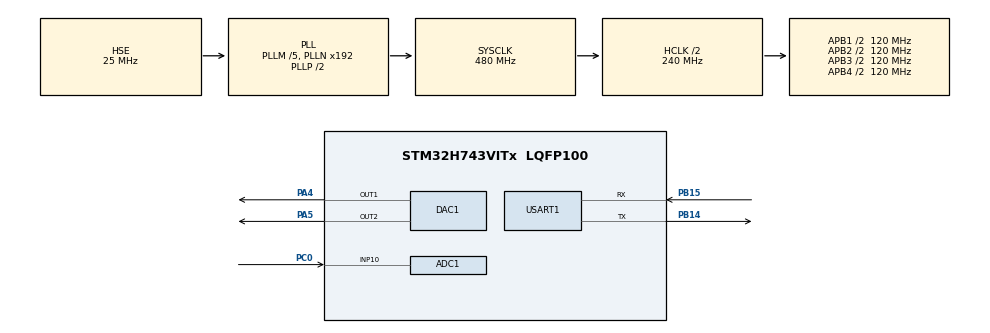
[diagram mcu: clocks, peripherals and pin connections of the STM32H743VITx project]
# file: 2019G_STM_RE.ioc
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ADC1.Channel-0\#ChannelRegularConversion=ADC_CHANNEL_10
ADC1.ConversionDataManagement=ADC_CONVERSIONDATA_DMA_CIRCULAR
ADC1.ExternalTrigConv=ADC_EXTERNALTRIG_T6_TRGO
ADC1.NbrOfConversionFlag=1
ADC1.OffsetNumber-0\#ChannelRegularConversion=ADC_OFFSET_NONE
ADC1.OffsetSignedSaturation-0\#ChannelRegularConversion=DISABLE
ADC1.Rank-0\#ChannelRegularConversion=1
ADC1.SamplingTime-0\#ChannelRegularConversion=ADC_SAMPLETIME_1CYCLE_5
ADC1.master=1
CORTEX_M7.CPU_DCache=Enabled
CORTEX_M7.default_mode_Activation=0
DAC1.DAC1_OutputBuffer-DAC_OUT1=DAC_OUTPUTBUFFER_DISABLE
DAC1.DAC2_OutputBuffer-DAC_OUT2=DAC_OUTPUTBUFFER_DISABLE
DAC1.DAC_Channel-DAC_OUT1=DAC_CHANNEL_1
DAC1.DAC_Channel-DAC_OUT2=DAC_CHANNEL_2
DAC1.DAC_Trigger-DAC_OUT1=DAC_TRIGGER_T5_TRGO
DAC1.DAC_Trigger-DAC_OUT2=DAC_TRIGGER_T4_TRGO
Dma.ADC1.0.Direction=DMA_PERIPH_TO_MEMORY
Dma.ADC1.0.EventEnable=DISABLE
Dma.ADC1.0.FIFOMode=DMA_FIFOMODE_DISABLE
Dma.ADC1.0.Instance=DMA1_Stream0
Dma.ADC1.0.MemDataAlignment=DMA_MDATAALIGN_HALFWORD
Dma.ADC1.0.MemInc=DMA_MINC_ENABLE
Dma.ADC1.0.Mode=DMA_NORMAL
Dma.ADC1.0.PeriphDataAlignment=DMA_PDATAALIGN_HALFWORD
Dma.ADC1.0.PeriphInc=DMA_PINC_DISABLE
Dma.ADC1.0.Polarity=HAL_DMAMUX_REQ_GEN_RISING
Dma.ADC1.0.Priority=DMA_PRIORITY_LOW
Dma.ADC1.0.RequestNumber=1
Dma.ADC1.0.SignalID=NONE
Dma.ADC1.0.SyncEnable=DISABLE
Dma.ADC1.0.SyncPolarity=HAL_DMAMUX_SYNC_NO_EVENT
Dma.ADC1.0.SyncRequestNumber=1
Dma.ADC1.0.SyncSignalID=NONE
Dma.DAC1_CH1.1.Direction=DMA_MEMORY_TO_PERIPH
Dma.DAC1_CH1.1.EventEnable=DISABLE
Dma.DAC1_CH1.1.FIFOMode=DMA_FIFOMODE_DISABLE
Dma.DAC1_CH1.1.Instance=DMA1_Stream1
Dma.DAC1_CH1.1.MemDataAlignment=DMA_MDATAALIGN_HALFWORD
Dma.DAC1_CH1.1.MemInc=DMA_MINC_ENABLE
Dma.DAC1_CH1.1.Mode=DMA_CIRCULAR
Dma.DAC1_CH1.1.PeriphDataAlignment=DMA_PDATAALIGN_HALFWORD
Dma.DAC1_CH1.1.PeriphInc=DMA_PINC_DISABLE
Dma.DAC1_CH1.1.Polarity=HAL_DMAMUX_REQ_GEN_RISING
Dma.DAC1_CH1.1.Priority=DMA_PRIORITY_LOW
Dma.DAC1_CH1.1.RequestNumber=1
Dma.DAC1_CH1.1.SignalID=NONE
Dma.DAC1_CH1.1.SyncEnable=DISABLE
Dma.DAC1_CH1.1.SyncPolarity=HAL_DMAMUX_SYNC_NO_EVENT
Dma.DAC1_CH1.1.SyncRequestNumber=1
Dma.DAC1_CH1.1.SyncSignalID=NONE
Dma.DAC1_CH2.2.Direction=DMA_MEMORY_TO_PERIPH
Dma.DAC1_CH2.2.EventEnable=DISABLE
Dma.DAC1_CH2.2.FIFOMode=DMA_FIFOMODE_DISABLE
Dma.DAC1_CH2.2.Instance=DMA1_Stream2
Dma.DAC1_CH2.2.MemDataAlignment=DMA_MDATAALIGN_HALFWORD
Dma.DAC1_CH2.2.MemInc=DMA_MINC_ENABLE
Dma.DAC1_CH2.2.Mode=DMA_CIRCULAR
Dma.DAC1_CH2.2.PeriphDataAlignment=DMA_PDATAALIGN_HALFWORD
Dma.DAC1_CH2.2.PeriphInc=DMA_PINC_DISABLE
Dma.DAC1_CH2.2.Polarity=HAL_DMAMUX_REQ_GEN_RISING
Dma.DAC1_CH2.2.Priority=DMA_PRIORITY_LOW
Dma.DAC1_CH2.2.RequestNumber=1
Dma.DAC1_CH2.2.SignalID=NONE
Dma.DAC1_CH2.2.SyncEnable=DISABLE
Dma.DAC1_CH2.2.SyncPolarity=HAL_DMAMUX_SYNC_NO_EVENT
Dma.DAC1_CH2.2.SyncRequestNumber=1
Dma.DAC1_CH2.2.SyncSignalID=NONE
Dma.Request0=ADC1
Dma.Request1=DAC1_CH1
Dma.Request2=DAC1_CH2
Mcu.Family=STM32H7
Mcu.Name=STM32H743VITx
Mcu.Package=LQFP100
NVIC.DMA1_Stream0_IRQn=true\:0\:0\:false\:false\:true\:false\:true\:true
NVIC.DMA1_Stream1_IRQn=true\:0\:0\:false\:false\:true\:false\:true\:true
NVIC.DMA1_Stream2_IRQn=true\:0\:0\:false\:false\:true\:false\:true\:true
NVIC.PriorityGroup=NVIC_PRIORITYGROUP_4
PA13\ (JTMS/SWDIO).Mode=Serial_Wire
PA13\ (JTMS/SWDIO).Signal=DEBUG_JTMS-SWDIO
PA14\ (JTCK/SWCLK).Mode=Serial_Wire
PA14\ (JTCK/SWCLK).Signal=DEBUG_JTCK-SWCLK
PA4.Signal=COMP_DAC11_group
PA5.Signal=COMP_DAC12_group
PB14.Mode=Asynchronous
PB14.Signal=USART1_TX
PB15.Mode=Asynchronous
PB15.Signal=USART1_RX
PC0.Signal=ADCx_INP10
PH0-OSC_IN\ (PH0).Mode=HSE-External-Oscillator
PH0-OSC_IN\ (PH0).Signal=RCC_OSC_IN
PH1-OSC_OUT\ (PH1).Mode=HSE-External-Oscillator
PH1-OSC_OUT\ (PH1).Signal=RCC_OSC_OUT
ProjectManager.HeapSize=0x200
ProjectManager.StackSize=0x400
ProjectManager.TargetToolchain=MDK-ARM V5.32
RCC.ADCFreq_Value=72000000
RCC.APB1Freq_Value=120000000
RCC.APB2Freq_Value=120000000
RCC.APB3Freq_Value=120000000
RCC.APB4Freq_Value=120000000
RCC.CortexFreq_Value=480000000
RCC.D1PPRE=RCC_APB3_DIV2
RCC.D2PPRE1=RCC_APB1_DIV2
RCC.D2PPRE2=RCC_APB2_DIV2
RCC.D3PPRE=RCC_APB4_DIV2
RCC.DIVM1=5
RCC.DIVM2=25
RCC.DIVN1=192
RCC.DIVN2=360
RCC.DIVP2=5
RCC.HCLKFreq_Value=240000000
RCC.HPRE=RCC_HCLK_DIV2
RCC.HSE_VALUE=25000000
RCC.PLL2FRACN=0
RCC.PLLSourceVirtual=RCC_PLLSOURCE_HSE
RCC.SYSCLKFreq_VALUE=480000000
RCC.SYSCLKSource=RCC_SYSCLKSOURCE_PLLCLK
RCC.USBFreq_Value=480000000
SH.ADCx_INP10.0=ADC1_INP10,IN10-Single-Ended
SH.COMP_DAC11_group.0=DAC1_OUT1,DAC_OUT1
SH.COMP_DAC12_group.0=DAC1_OUT2,DAC_OUT2
TIM4.AutoReloadPreload=TIM_AUTORELOAD_PRELOAD_ENABLE
TIM4.ClockDivision=TIM_CLOCKDIVISION_DIV1
TIM4.Period=20-1
TIM4.Prescaler=60
TIM4.TIM_MasterOutputTrigger=TIM_TRGO_UPDATE
TIM5.AutoReloadPreload=TIM_AUTORELOAD_PRELOAD_ENABLE
TIM5.Period=20-1
TIM5.Prescaler=60
TIM5.TIM_MasterOutputTrigger=TIM_TRGO_UPDATE
TIM6.Period=60-1
TIM6.Prescaler=40
TIM6.TIM_MasterOutputTrigger=TIM_TRGO_UPDATE
TIM7.Prescaler=240
USART1.VirtualMode-Asynchronous=VM_ASYNC
VP_TIM4_VS_ClockSourceINT.Mode=Internal
VP_TIM5_VS_ClockSourceINT.Mode=Internal
VP_TIM6_VS_ClockSourceINT.Mode=Enable_Timer
VP_TIM7_VS_ClockSourceINT.Mode=Enable_Timer
board=custom

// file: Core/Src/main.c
/* USER CODE BEGIN Header */
/**
  ******************************************************************************
  * @file           : main.c
  * @brief          : Main program body
  ******************************************************************************
  * @attention
  *
  * Copyright (c) 2022 STMicroelectronics.
  * All rights reserved.
  *
  * This software is licensed under terms that can be found in the LICENSE file
  * in the root directory of this software component.
  * If no LICENSE file comes with this software, it is provided AS-IS.
  *
  ******************************************************************************
  */
/* USER CODE END Header */
#include "main.h"
#include "adc.h"
#include "dac.h"
#include "dma.h"
#include "tim.h"
#include "usart.h"
#include "gpio.h"

/* USER CODE BEGIN Includes */
ALIGN_32BYTES (uint16_t adc1_data[FFT_LENGTH]) 	__attribute__((section(".ARM.__at_0x30020000")));
__IO uint8_t fre_flag0 = 0;//表示载波频率测量结束
uint16_t Dat1[200]={0};
uint16_t Dat2[200]={0};
void SineWave()
{
    uint16_t i;
    for( i=0;i<200;i++)
    {
        Dat1[i]=(uint16_t)((int16_t)(1000*sin(i*2*3.14159/200))+2000);
				Dat2[i]=Dat1[i];
    }
}
__IO uint8_t AdcConvEnd = 0;//表示adc采集完成
/* USER CODE END Includes */

/* USER CODE BEGIN PV */
void adc_init(void)
{
    MX_ADC1_Init();	//初始化调用放这里, 确保在MX_DMA_Init()初始化后面
    HAL_Delay(100);	//有地方说这里可以等等电压稳定后再校准

    if (HAL_ADCEx_Calibration_Start(&hadc1, ADC_CALIB_OFFSET, ADC_SINGLE_ENDED) != HAL_OK)
    {
        printf("hadc1 error with HAL_ADCEx_Calibration_Start\r\n");
        Error_Handler();
    }

    if (HAL_ADC_Start_DMA(&hadc1, (uint32_t *)adc1_data, FFT_LENGTH) != HAL_OK)
    {
        printf("hadc1 error with HAL_ADC_Start_DMA\r\n");
        Error_Handler();
    }

		HAL_TIM_Base_Start(&htim6);
		while (!AdcConvEnd);
		AdcConvEnd = 0;
}
/* USER CODE END PV */

void SystemClock_Config(void);

int main(void)
{

  /* Enable D-Cache---------------------------------------------------------*/
  SCB_EnableDCache();

  /* MCU Configuration--------------------------------------------------------*/

  /* Reset of all peripherals, Initializes the Flash interface and the Systick. */
  HAL_Init();

  /* Configure the system clock */
  SystemClock_Config();

  /* USER CODE BEGIN SysInit */
	char screen_message[70];

  /* USER CODE END SysInit */

  /* Initialize all configured peripherals */
  MX_GPIO_Init();
  MX_DMA_Init();
  MX_ADC1_Init();
  MX_DAC1_Init();
  MX_TIM4_Init();
  MX_TIM5_Init();
  MX_TIM6_Init();
  MX_TIM7_Init();
  MX_USART1_UART_Init();
  /* USER CODE BEGIN 2 */
	sprintf(screen_message,"x0.val=%d\xff\xff\xff",(int)0);
	for(int mino = 0;mino<5; mino++)
		USART1PutString(screen_message);

	ADF4351Init();
	for(int mino = 0;mino<5; mino++)
	ADF4351WriteFreq(47);	//设置固定输出频率为400MHZ

	AD9854_Init();
	for(int mino = 0;mino<5; mino++)
		AD9854_SetSine_double( 10000000,4095);

	sprintf(screen_message,"x0.val=%d\xff\xff\xff",(int)((100 + 10.7)*10));
	for(int mino = 0;mino<5; mino++)
	USART1PutString(screen_message);

	TIM6->PSC = 30-1;
	adc_init();
	FFT_Init();

	SineWave();//生成正弦数据
  HAL_TIM_Base_Start(&htim5);//打开定时器4
  HAL_DAC_Start_DMA(&hdac1,DAC_CHANNEL_1,(uint32_t *)Dat1,200,DAC_ALIGN_12B_R);//开启DMA-DAC

	HAL_TIM_Base_Start(&htim4);//打开定时器5
  HAL_DAC_Start_DMA(&hdac1,DAC_CHANNEL_2,(uint32_t *)Dat2,200,DAC_ALIGN_12B_R);//开启DMA-DAC
  /* USER CODE END 2 */

  /* Infinite loop */
  while (1)
  {

  }
}

void SystemClock_Config(void)
{
  RCC_OscInitTypeDef RCC_OscInitStruct = {0};
  RCC_ClkInitTypeDef RCC_ClkInitStruct = {0};

  /** Supply configuration update enable
  */
  HAL_PWREx_ConfigSupply(PWR_LDO_SUPPLY);

  /** Configure the main internal regulator output voltage
  */
  __HAL_PWR_VOLTAGESCALING_CONFIG(PWR_REGULATOR_VOLTAGE_SCALE1);

  while(!__HAL_PWR_GET_FLAG(PWR_FLAG_VOSRDY)) {}

  __HAL_RCC_SYSCFG_CLK_ENABLE();
  __HAL_PWR_VOLTAGESCALING_CONFIG(PWR_REGULATOR_VOLTAGE_SCALE0);

  while(!__HAL_PWR_GET_FLAG(PWR_FLAG_VOSRDY)) {}

  /** Macro to configure the PLL clock source
  */
  __HAL_RCC_PLL_PLLSOURCE_CONFIG(RCC_PLLSOURCE_HSE);

  /** Initializes the RCC Oscillators according to the specified parameters
  * in the RCC_OscInitTypeDef structure.
  */
  RCC_OscInitStruct.OscillatorType = RCC_OSCILLATORTYPE_HSE;
  RCC_OscInitStruct.HSEState = RCC_HSE_ON;
  RCC_OscInitStruct.PLL.PLLState = RCC_PLL_ON;
  RCC_OscInitStruct.PLL.PLLSource = RCC_PLLSOURCE_HSE;
  RCC_OscInitStruct.PLL.PLLM = 5;
  RCC_OscInitStruct.PLL.PLLN = 192;
  RCC_OscInitStruct.PLL.PLLP = 2;
  RCC_OscInitStruct.PLL.PLLQ = 2;
  RCC_OscInitStruct.PLL.PLLR = 2;
  RCC_OscInitStruct.PLL.PLLRGE = RCC_PLL1VCIRANGE_2;
  RCC_OscInitStruct.PLL.PLLVCOSEL = RCC_PLL1VCOWIDE;
  RCC_OscInitStruct.PLL.PLLFRACN = 0;
  if (HAL_RCC_OscConfig(&RCC_OscInitStruct) != HAL_OK)
  {
    Error_Handler();
  }

  /** Initializes the CPU, AHB and APB buses clocks
  */
  RCC_ClkInitStruct.ClockType = RCC_CLOCKTYPE_HCLK|RCC_CLOCKTYPE_SYSCLK
                              |RCC_CLOCKTYPE_PCLK1|RCC_CLOCKTYPE_PCLK2
                              |RCC_CLOCKTYPE_D3PCLK1|RCC_CLOCKTYPE_D1PCLK1;
  RCC_ClkInitStruct.SYSCLKSource = RCC_SYSCLKSOURCE_PLLCLK;
  RCC_ClkInitStruct.SYSCLKDivider = RCC_SYSCLK_DIV1;
  RCC_ClkInitStruct.AHBCLKDivider = RCC_HCLK_DIV2;
  RCC_ClkInitStruct.APB3CLKDivider = RCC_APB3_DIV2;
  RCC_ClkInitStruct.APB1CLKDivider = RCC_APB1_DIV2;
  RCC_ClkInitStruct.APB2CLKDivider = RCC_APB2_DIV2;
  RCC_ClkInitStruct.APB4CLKDivider = RCC_APB4_DIV2;

  if (HAL_RCC_ClockConfig(&RCC_ClkInitStruct, FLASH_LATENCY_4) != HAL_OK)
  {
    Error_Handler();
  }
}

/* USER CODE BEGIN 4 */
void HAL_ADC_ConvCpltCallback(ADC_HandleTypeDef* hadc)
{
   if(hadc->Instance == ADC1) {
       SCB_InvalidateDCache_by_Addr((uint32_t *) &adc1_data[0], ADC1_BUFFER_SIZE);}
	 AdcConvEnd = 1;
}

/* USER CODE END 4 */

void Error_Handler(void)
{
  __disable_irq();
  while (1)
  {
  }
}
